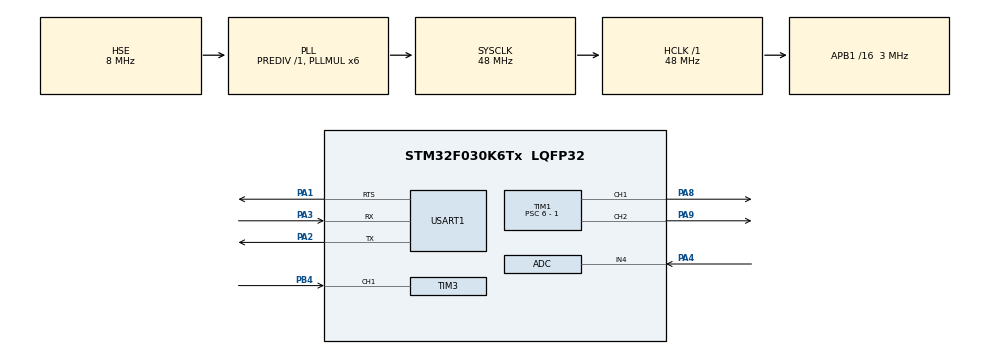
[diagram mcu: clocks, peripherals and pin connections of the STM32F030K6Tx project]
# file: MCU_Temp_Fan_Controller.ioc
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Dma.ADC.0.Direction=DMA_PERIPH_TO_MEMORY
Dma.ADC.0.Instance=DMA1_Channel1
Dma.ADC.0.MemDataAlignment=DMA_MDATAALIGN_HALFWORD
Dma.ADC.0.MemInc=DMA_MINC_ENABLE
Dma.ADC.0.Mode=DMA_NORMAL
Dma.ADC.0.PeriphDataAlignment=DMA_PDATAALIGN_HALFWORD
Dma.ADC.0.PeriphInc=DMA_PINC_DISABLE
Dma.ADC.0.Priority=DMA_PRIORITY_LOW
Dma.Request0=ADC
Mcu.Family=STM32F0
Mcu.Name=STM32F030K6Tx
Mcu.Package=LQFP32
NVIC.DMA1_Channel1_IRQn=true\:0\:0\:false\:false\:true\:false\:true
NVIC.TIM3_IRQn=true\:0\:0\:false\:false\:true\:true\:true
PA1.Mode=RTS_Only
PA1.Signal=USART1_RTS
PA13.Mode=Serial_Wire
PA13.Signal=SYS_SWDIO
PA14.Mode=Serial_Wire
PA14.Signal=SYS_SWCLK
PA2.Mode=Asynchronous
PA2.Signal=USART1_TX
PA3.Mode=Asynchronous
PA3.Signal=USART1_RX
PA4.Mode=IN4
PA4.Signal=ADC_IN4
PA8.Signal=S_TIM1_CH1
PA9.Signal=S_TIM1_CH2
PB4.Signal=S_TIM3_CH1
PF0-OSC_IN.Mode=HSE-External-Oscillator
PF0-OSC_IN.Signal=RCC_OSC_IN
PF1-OSC_OUT.Mode=HSE-External-Oscillator
PF1-OSC_OUT.Signal=RCC_OSC_OUT
ProjectManager.HeapSize=0x200
ProjectManager.StackSize=0x400
ProjectManager.TargetToolchain=SW4STM32
RCC.AHBFreq_Value=48000000
RCC.APB1CLKDivider=RCC_HCLK_DIV16
RCC.APB1Freq_Value=3000000
RCC.APB1TimFreq_Value=6000000
RCC.HCLKFreq_Value=48000000
RCC.PLLMUL=RCC_PLL_MUL6
RCC.PLLSourceVirtual=RCC_PLLSOURCE_HSE
RCC.SYSCLKFreq_VALUE=48000000
RCC.SYSCLKSource=RCC_SYSCLKSOURCE_PLLCLK
SH.S_TIM1_CH1.0=TIM1_CH1,PWM Generation1 CH1
SH.S_TIM1_CH2.0=TIM1_CH2,PWM Generation2 CH2
SH.S_TIM3_CH1.0=TIM3_CH1,Input_Capture1_from_TI1
TIM1.Channel-PWM\ Generation1\ CH1=TIM_CHANNEL_1
TIM1.Channel-PWM\ Generation2\ CH2=TIM_CHANNEL_2
TIM1.OC1Preload_PWM=ENABLE
TIM1.Period=1000 - 1
TIM1.Prescaler=6 - 1
TIM3.AutoReloadPreload=TIM_AUTORELOAD_PRELOAD_ENABLE
TIM3.Channel-Input_Capture1_from_TI1=TIM_CHANNEL_1
TIM3.Period=65536 - 1
TIM3.Prescaler=6 - 1
USART1.VirtualMode-Asynchronous=VM_ASYNC
VP_TIM1_VS_ClockSourceINT.Mode=Internal
VP_TIM3_VS_ClockSourceINT.Mode=Internal
board=custom

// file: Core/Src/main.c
/* USER CODE BEGIN Header */
/**
  ******************************************************************************
  * @file           : main.c
  * @brief          : Main program body
  * @author         : STMicroelectronics
  * @author         : Liam Sho <conan_creeper@outlook.com>
  ******************************************************************************
  * @attention
  *
  * <h2><center>&copy; Copyright (c) 2021 STMicroelectronics.
  * All rights reserved.</center></h2>
  *
  * This software component is licensed by ST under BSD 3-Clause license,
  * the "License"; You may not use this file except in compliance with the
  * License. You may obtain a copy of the License at:
  *                        opensource.org/licenses/BSD-3-Clause
  *
  * <h2><center>&copy; Copyright (c) 2021 Liam Sho.
  * All rights reserved.</center></h2>
  *
  * The code between <strong>USER CODE</strong> is licensed by Liam Sho under
  * GNU GENERAL PUBLIC LICENSE Version 3. Check LICENSE file in the root directory
  * of this project.
  *
  ******************************************************************************
  */
/* USER CODE END Header */
#include "main.h"

/* USER CODE BEGIN PD */

#define TIM_CLOCK 6000000;
#define TIM_PRESCALAR 6;

/* USER CODE END PD */

/* USER CODE BEGIN PM */

#pragma clang diagnostic push
#pragma ide diagnostic ignored "EndlessLoop"

/* USER CODE END PM */

ADC_HandleTypeDef hadc;
DMA_HandleTypeDef hdma_adc;

TIM_HandleTypeDef htim1;
TIM_HandleTypeDef htim3;

UART_HandleTypeDef huart1;

void SystemClock_Config(void);

static void MX_GPIO_Init(void);

static void MX_DMA_Init(void);

static void MX_ADC_Init(void);

static void MX_TIM1_Init(void);

static void MX_TIM3_Init(void);

static void MX_USART1_UART_Init(void);
/* USER CODE BEGIN PFP */

static uint32_t Duty_Cycle_Getter(uint32_t dutyCycle, uint32_t currentValue, uint32_t target, uint32_t offset);

/* USER CODE END PFP */

/* USER CODE BEGIN 0 */

/* Constants */

// Timer clock speed.
const int Timer_Clock_Speed = 6000000;
// Timer 3 prescalar.
const int Timer_3_Prescalar = 6;

/* Motor control */

// Motor control PWM duty cycle.
uint32_t Motor_PWM_Duty_Cycle = 0;
// Motor speed, round per second.
uint32_t Motor_Speed = 0;

/* Heater control */

// ADC result set by DMA.
uint32_t ADC_Output = 0;
// Heater temperature
uint32_t Heater_Temperature = 0;
// Heater control PWM duty cycle.
uint32_t Heater_PWM_Duty_Cycle = 0;

/* Other variables */

// For TIM3 interrupt indicate if is the first input.
int TIM_3_Is_First_Capture = 0;
// For TIM3 interrupt, the first captured value.
uint16_t IC_Val_1 = 0;
// For TIM3 interrupt, the second captured value.
uint16_t IC_Val_2 = 0;

/* Control target */

// Temperature control target
uint32_t Temperature_Control_Target = 60;
// Motor control target (RPM)
uint32_t Motor_Control_Target = 2800;

// Temperature control offset
uint32_t Temperature_Control_Offset = 2;
// Motor control target
uint32_t Motor_Control_Offset = 100;

/* USER CODE END 0 */

int main(void) {

    /* MCU Configuration--------------------------------------------------------*/

    /* Reset of all peripherals, Initializes the Flash interface and the Systick. */
    HAL_Init();

    /* Configure the system clock */
    SystemClock_Config();

    /* Initialize all configured peripherals */
    MX_GPIO_Init();
    MX_DMA_Init();
    MX_ADC_Init();
    MX_TIM1_Init();
    MX_TIM3_Init();
    MX_USART1_UART_Init();
    /* USER CODE BEGIN 2 */

    // Start TIM1 PWM output on channel 1 (H_PWM) and channel 2 (F_PWM).
    HAL_TIM_PWM_Start(&htim1, TIM_CHANNEL_1);
    HAL_TIM_PWM_Start(&htim1, TIM_CHANNEL_2);

    // Start TIM3 Input Capture interrupt on channel 1.
    HAL_TIM_IC_Start_IT(&htim3, TIM_CHANNEL_1);

    // Start DMA mode ADC.
    HAL_ADCEx_Calibration_Start(&hadc);

    /* USER CODE END 2 */

    /* Infinite loop */
    while (1) {
        /* USER CODE BEGIN 3 */
        HAL_ADC_Start_DMA(&hadc, &ADC_Output, 1);

        // Temperature PWM
        Heater_PWM_Duty_Cycle = Duty_Cycle_Getter(Heater_PWM_Duty_Cycle, Heater_Temperature, Temperature_Control_Target, Temperature_Control_Offset);
        // Motor PWM
        Motor_PWM_Duty_Cycle = Duty_Cycle_Getter(Motor_PWM_Duty_Cycle, Motor_Speed, Motor_Control_Target, Motor_Control_Offset);

        // Set TIM1 PWM duty cycle
        // PA8 - TIM1_CH1 => Heater (H_PWM)
        // PA9 - TIM1_CH2 => Motor (F_PWM)
        __HAL_TIM_SetCompare(&htim1, TIM_CHANNEL_1, Heater_PWM_Duty_Cycle);
        __HAL_TIM_SetCompare(&htim1, TIM_CHANNEL_2, Motor_PWM_Duty_Cycle);

        // Delay for a while
        HAL_Delay(200);
    }
    /* USER CODE END 3 */
}

void SystemClock_Config(void) {
    RCC_OscInitTypeDef RCC_OscInitStruct = {0};
    RCC_ClkInitTypeDef RCC_ClkInitStruct = {0};
    RCC_PeriphCLKInitTypeDef PeriphClkInit = {0};

    /** Initializes the RCC Oscillators according to the specified parameters
    * in the RCC_OscInitTypeDef structure.
    */
    RCC_OscInitStruct.OscillatorType = RCC_OSCILLATORTYPE_HSI14 | RCC_OSCILLATORTYPE_HSE;
    RCC_OscInitStruct.HSEState = RCC_HSE_ON;
    RCC_OscInitStruct.HSI14State = RCC_HSI14_ON;
    RCC_OscInitStruct.HSI14CalibrationValue = 16;
    RCC_OscInitStruct.PLL.PLLState = RCC_PLL_ON;
    RCC_OscInitStruct.PLL.PLLSource = RCC_PLLSOURCE_HSE;
    RCC_OscInitStruct.PLL.PLLMUL = RCC_PLL_MUL6;
    RCC_OscInitStruct.PLL.PREDIV = RCC_PREDIV_DIV1;
    if (HAL_RCC_OscConfig(&RCC_OscInitStruct) != HAL_OK) {
        Error_Handler();
    }
    /** Initializes the CPU, AHB and APB buses clocks
    */
    RCC_ClkInitStruct.ClockType = RCC_CLOCKTYPE_HCLK | RCC_CLOCKTYPE_SYSCLK
                                  | RCC_CLOCKTYPE_PCLK1;
    RCC_ClkInitStruct.SYSCLKSource = RCC_SYSCLKSOURCE_PLLCLK;
    RCC_ClkInitStruct.AHBCLKDivider = RCC_SYSCLK_DIV1;
    RCC_ClkInitStruct.APB1CLKDivider = RCC_HCLK_DIV16;

    if (HAL_RCC_ClockConfig(&RCC_ClkInitStruct, FLASH_LATENCY_1) != HAL_OK) {
        Error_Handler();
    }
    PeriphClkInit.PeriphClockSelection = RCC_PERIPHCLK_USART1;
    PeriphClkInit.Usart1ClockSelection = RCC_USART1CLKSOURCE_PCLK1;
    if (HAL_RCCEx_PeriphCLKConfig(&PeriphClkInit) != HAL_OK) {
        Error_Handler();
    }
}

static void MX_ADC_Init(void) {

    ADC_ChannelConfTypeDef sConfig = {0};

    /** Configure the global features of the ADC (Clock, Resolution, Data Alignment and number of conversion)
    */
    hadc.Instance = ADC1;
    hadc.Init.ClockPrescaler = ADC_CLOCK_ASYNC_DIV1;
    hadc.Init.Resolution = ADC_RESOLUTION_12B;
    hadc.Init.DataAlign = ADC_DATAALIGN_RIGHT;
    hadc.Init.ScanConvMode = ADC_SCAN_DIRECTION_FORWARD;
    hadc.Init.EOCSelection = ADC_EOC_SINGLE_CONV;
    hadc.Init.LowPowerAutoWait = DISABLE;
    hadc.Init.LowPowerAutoPowerOff = DISABLE;
    hadc.Init.ContinuousConvMode = DISABLE;
    hadc.Init.DiscontinuousConvMode = DISABLE;
    hadc.Init.ExternalTrigConv = ADC_SOFTWARE_START;
    hadc.Init.ExternalTrigConvEdge = ADC_EXTERNALTRIGCONVEDGE_NONE;
    hadc.Init.DMAContinuousRequests = DISABLE;
    hadc.Init.Overrun = ADC_OVR_DATA_PRESERVED;
    if (HAL_ADC_Init(&hadc) != HAL_OK) {
        Error_Handler();
    }
    /** Configure for the selected ADC regular channel to be converted.
    */
    sConfig.Channel = ADC_CHANNEL_4;
    sConfig.Rank = ADC_RANK_CHANNEL_NUMBER;
    sConfig.SamplingTime = ADC_SAMPLETIME_1CYCLE_5;
    if (HAL_ADC_ConfigChannel(&hadc, &sConfig) != HAL_OK) {
        Error_Handler();
    }

}

static void MX_TIM1_Init(void) {

    TIM_ClockConfigTypeDef sClockSourceConfig = {0};
    TIM_MasterConfigTypeDef sMasterConfig = {0};
    TIM_OC_InitTypeDef sConfigOC = {0};
    TIM_BreakDeadTimeConfigTypeDef sBreakDeadTimeConfig = {0};

    htim1.Instance = TIM1;
    htim1.Init.Prescaler = 6 - 1;
    htim1.Init.CounterMode = TIM_COUNTERMODE_UP;
    htim1.Init.Period = 1000 - 1;
    htim1.Init.ClockDivision = TIM_CLOCKDIVISION_DIV1;
    htim1.Init.RepetitionCounter = 0;
    htim1.Init.AutoReloadPreload = TIM_AUTORELOAD_PRELOAD_DISABLE;
    if (HAL_TIM_Base_Init(&htim1) != HAL_OK) {
        Error_Handler();
    }
    sClockSourceConfig.ClockSource = TIM_CLOCKSOURCE_INTERNAL;
    if (HAL_TIM_ConfigClockSource(&htim1, &sClockSourceConfig) != HAL_OK) {
        Error_Handler();
    }
    if (HAL_TIM_PWM_Init(&htim1) != HAL_OK) {
        Error_Handler();
    }
    sMasterConfig.MasterOutputTrigger = TIM_TRGO_RESET;
    sMasterConfig.MasterSlaveMode = TIM_MASTERSLAVEMODE_DISABLE;
    if (HAL_TIMEx_MasterConfigSynchronization(&htim1, &sMasterConfig) != HAL_OK) {
        Error_Handler();
    }
    sConfigOC.OCMode = TIM_OCMODE_PWM1;
    sConfigOC.Pulse = 0;
    sConfigOC.OCPolarity = TIM_OCPOLARITY_HIGH;
    sConfigOC.OCNPolarity = TIM_OCNPOLARITY_HIGH;
    sConfigOC.OCFastMode = TIM_OCFAST_DISABLE;
    sConfigOC.OCIdleState = TIM_OCIDLESTATE_RESET;
    sConfigOC.OCNIdleState = TIM_OCNIDLESTATE_RESET;
    if (HAL_TIM_PWM_ConfigChannel(&htim1, &sConfigOC, TIM_CHANNEL_1) != HAL_OK) {
        Error_Handler();
    }
    if (HAL_TIM_PWM_ConfigChannel(&htim1, &sConfigOC, TIM_CHANNEL_2) != HAL_OK) {
        Error_Handler();
    }
    sBreakDeadTimeConfig.OffStateRunMode = TIM_OSSR_DISABLE;
    sBreakDeadTimeConfig.OffStateIDLEMode = TIM_OSSI_DISABLE;
    sBreakDeadTimeConfig.LockLevel = TIM_LOCKLEVEL_OFF;
    sBreakDeadTimeConfig.DeadTime = 0;
    sBreakDeadTimeConfig.BreakState = TIM_BREAK_DISABLE;
    sBreakDeadTimeConfig.BreakPolarity = TIM_BREAKPOLARITY_HIGH;
    sBreakDeadTimeConfig.AutomaticOutput = TIM_AUTOMATICOUTPUT_DISABLE;
    if (HAL_TIMEx_ConfigBreakDeadTime(&htim1, &sBreakDeadTimeConfig) != HAL_OK) {
        Error_Handler();
    }
    HAL_TIM_MspPostInit(&htim1);

}

static void MX_TIM3_Init(void) {

    TIM_ClockConfigTypeDef sClockSourceConfig = {0};
    TIM_MasterConfigTypeDef sMasterConfig = {0};
    TIM_IC_InitTypeDef sConfigIC = {0};

    htim3.Instance = TIM3;
    htim3.Init.Prescaler = 6 - 1;
    htim3.Init.CounterMode = TIM_COUNTERMODE_UP;
    htim3.Init.Period = 65536 - 1;
    htim3.Init.ClockDivision = TIM_CLOCKDIVISION_DIV1;
    htim3.Init.AutoReloadPreload = TIM_AUTORELOAD_PRELOAD_ENABLE;
    if (HAL_TIM_Base_Init(&htim3) != HAL_OK) {
        Error_Handler();
    }
    sClockSourceConfig.ClockSource = TIM_CLOCKSOURCE_INTERNAL;
    if (HAL_TIM_ConfigClockSource(&htim3, &sClockSourceConfig) != HAL_OK) {
        Error_Handler();
    }
    if (HAL_TIM_IC_Init(&htim3) != HAL_OK) {
        Error_Handler();
    }
    sMasterConfig.MasterOutputTrigger = TIM_TRGO_RESET;
    sMasterConfig.MasterSlaveMode = TIM_MASTERSLAVEMODE_DISABLE;
    if (HAL_TIMEx_MasterConfigSynchronization(&htim3, &sMasterConfig) != HAL_OK) {
        Error_Handler();
    }
    sConfigIC.ICPolarity = TIM_INPUTCHANNELPOLARITY_RISING;
    sConfigIC.ICSelection = TIM_ICSELECTION_DIRECTTI;
    sConfigIC.ICPrescaler = TIM_ICPSC_DIV1;
    sConfigIC.ICFilter = 0;
    if (HAL_TIM_IC_ConfigChannel(&htim3, &sConfigIC, TIM_CHANNEL_1) != HAL_OK) {
        Error_Handler();
    }

}

static void MX_USART1_UART_Init(void) {

    huart1.Instance = USART1;
    huart1.Init.BaudRate = 38400;
    huart1.Init.WordLength = UART_WORDLENGTH_8B;
    huart1.Init.StopBits = UART_STOPBITS_1;
    huart1.Init.Parity = UART_PARITY_NONE;
    huart1.Init.Mode = UART_MODE_TX_RX;
    huart1.Init.HwFlowCtl = UART_HWCONTROL_RTS;
    huart1.Init.OverSampling = UART_OVERSAMPLING_16;
    huart1.Init.OneBitSampling = UART_ONE_BIT_SAMPLE_DISABLE;
    huart1.AdvancedInit.AdvFeatureInit = UART_ADVFEATURE_NO_INIT;
    if (HAL_UART_Init(&huart1) != HAL_OK) {
        Error_Handler();
    }

}

static void MX_DMA_Init(void) {

    /* DMA controller clock enable */
    __HAL_RCC_DMA1_CLK_ENABLE();

    /* DMA interrupt init */
    /* DMA1_Channel1_IRQn interrupt configuration */
    HAL_NVIC_SetPriority(DMA1_Channel1_IRQn, 0, 0);
    HAL_NVIC_EnableIRQ(DMA1_Channel1_IRQn);

}

static void MX_GPIO_Init(void) {

    /* GPIO Ports Clock Enable */
    __HAL_RCC_GPIOF_CLK_ENABLE();
    __HAL_RCC_GPIOA_CLK_ENABLE();
    __HAL_RCC_GPIOB_CLK_ENABLE();

}

/* USER CODE BEGIN 4 */

/**
 * @brief Timer Interrupt, generally for motor speed monitor.
 * @param htim Timer pointer
 * @retval None
 */
void HAL_TIM_IC_CaptureCallback(TIM_HandleTypeDef* htim)
{
    if (htim->Channel == HAL_TIM_ACTIVE_CHANNEL_1)
    {
        uint16_t TIM_Period = 0;

        if(TIM_3_Is_First_Capture == 0)
        {
            IC_Val_1 = HAL_TIM_ReadCapturedValue(htim, TIM_CHANNEL_1);
            TIM_3_Is_First_Capture = 1;
        }

        else
        {
            IC_Val_2 = HAL_TIM_ReadCapturedValue(htim, TIM_CHANNEL_1);

            if (IC_Val_2 > IC_Val_1)
            {
                TIM_Period = IC_Val_2 - IC_Val_1;
            }

            else if (IC_Val_1 > IC_Val_2)
            {
                TIM_Period = (0xffff - IC_Val_1) + IC_Val_2;
            }

            float refClock = (float)Timer_Clock_Speed / (float)Timer_3_Prescalar;
            float frequency = refClock/TIM_Period;

            Motor_Speed = 60 * frequency / 9;

            __HAL_TIM_SET_COUNTER(htim, 0);
            TIM_3_Is_First_Capture = 0;
        }
    }
}

/**
 * @brief ADC DMA interrupt callback from heater.
 * @param hadc ADC pointer
 * @retval None
 */
void HAL_ADC_ConvCpltCallback(ADC_HandleTypeDef* hadc)
{
    // Curve fitting result
    Heater_Temperature = 0.09991 * ADC_Output - 313.2;
}

/**
 * @brief Get new pwm duty cycle by the current pwm duty cycle, value, target and offset.
 * @retval New pwm duty cycle
 */
uint32_t Duty_Cycle_Getter(uint32_t dutyCycle, uint32_t currentValue, uint32_t target, uint32_t offset)
{
    uint32_t top = target + offset;
    uint32_t down = target - offset;

    if (currentValue >= top)
    {
        if(dutyCycle <= 9)
        {
            return 0;
        }

        return dutyCycle -= 10;
    }

    if (currentValue < top && currentValue > target)
    {
        if(dutyCycle <= 0)
        {
            return 0;
        }

        return dutyCycle--;
    }

    if (currentValue > down && currentValue < target)
    {
        if(dutyCycle >= 998)
        {
            return 1000;
        }

        return dutyCycle++;
    }

    if (currentValue <= down)
    {
        if(dutyCycle >= 1000)
        {
            return 1000;
        }

        return dutyCycle += 10;
    }
    return 0;
}

/* USER CODE END 4 */

void Error_Handler(void) {
    __disable_irq();
    while (1) {
    }
}

/************************ (C) COPYRIGHT STMicroelectronics *****END OF FILE****/

#pragma clang diagnostic pop
